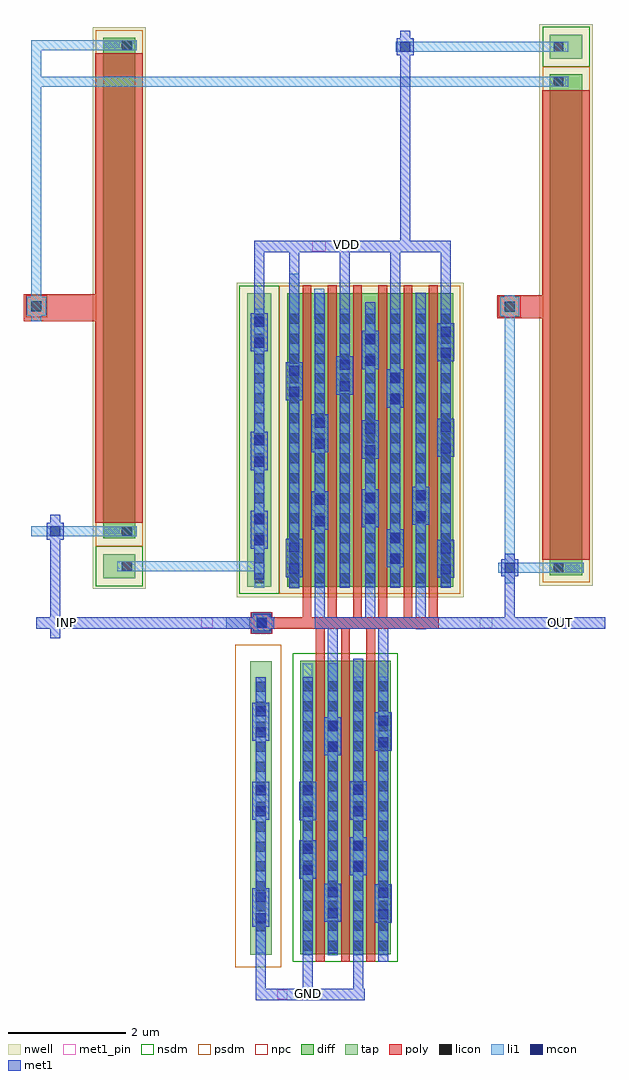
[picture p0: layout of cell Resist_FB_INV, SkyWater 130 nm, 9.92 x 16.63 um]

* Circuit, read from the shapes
.subckt Resist_FB_INV GND INP OUT VDD
XM1 OUT INP GND GND sky130_fd_pr__nfet_01v8 w=5 l=0.15 m=3
XM2 n1 n1 INP VDD sky130_fd_pr__pfet_01v8 w=0.55 l=8
XM3 OUT INP VDD VDD sky130_fd_pr__pfet_01v8 w=5 l=0.15 m=6
XM4 n1 OUT OUT VDD sky130_fd_pr__pfet_01v8 w=0.55 l=8
.ends

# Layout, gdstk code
from math import pi, radians
import gdstk
lib = gdstk.Library(unit=1e-6, precision=1e-09)
def R(c, l, rs):  # rectangles x0, y0, x1, y1
    for r in rs: c.add(gdstk.rectangle(r[:2], r[2:], *l))
def A(c, l, x, y, w, h, nx, ny, dx, dy):  # array of equal rectangles
    R(c, l, [(x+i*dx, y+j*dy, x+i*dx+w, y+j*dy+h) for i in range(nx) for j in range(ny)])
nwell = (64, 20)
diff = (65, 20)
tap = (65, 44)
poly = (66, 20)
licon = (66, 44)
li1 = (67, 20)
mcon = (67, 44)
met1_pin = (68, 16)
met1 = (68, 20)
nsdm = (93, 44)
psdm = (94, 20)
npc = (95, 20)

dfl1sd_cdns_599788481702 = lib.new_cell('DFL1sd_CDNS_599788481702')
R(dfl1sd_cdns_599788481702, diff, [(0,0,0.265,5)])
A(dfl1sd_cdns_599788481702, licon, 0.055, 0.06, 0.17, 0.17, 1, 14, 0, 0.34)
R(dfl1sd_cdns_599788481702, li1, [(0.055,-0.02,0.225,4.73)])
R(dfl1sd_cdns_599788481702, nsdm, [(-0.125,-0.125,0.39,5.125)])

dfl1sd2_cdns_59978848170 = lib.new_cell('DFL1sd2_CDNS_599788481703')
R(dfl1sd2_cdns_59978848170, diff, [(0,0,0.28,5)])
A(dfl1sd2_cdns_59978848170, licon, 0.055, 0.06, 0.17, 0.17, 1, 14, 0, 0.34)
R(dfl1sd2_cdns_59978848170, li1, [(0.055,-0.02,0.225,4.73)])
R(dfl1sd2_cdns_59978848170, nsdm, [(-0.125,-0.125,0.405,5.125)])

nfet_symbolic_cdns_59978 = lib.new_cell('nfet_symbolic_CDNS_599788481701')
A(nfet_symbolic_cdns_59978, diff, 0, 0, 0.15, 5, 3, 1, 0.43, 0)
R(nfet_symbolic_cdns_59978, diff, [(-0.25,0,0,5), (1.01,0,1.26,5)])
A(nfet_symbolic_cdns_59978, poly, 0, -0.13, 0.15, 5.26, 3, 1, 0.43, 0)
A(nfet_symbolic_cdns_59978, poly, 0, -0.13, 0.15, 0.13, 3, 2, 0.43, 5.13)
A(nfet_symbolic_cdns_59978, li1, -0.225, -0.02, 0.17, 4.75, 4, 1, 0.43, 0)
R(nfet_symbolic_cdns_59978, nsdm, [(-0.25,-0.125,0.15,5.125), (0.18,-0.125,0.58,5.125), (0.61,-0.125,1.26,5.125)])
nfet_symbolic_cdns_59978.add(gdstk.Reference(dfl1sd_cdns_599788481702, (1.01,0)))
nfet_symbolic_cdns_59978.add(gdstk.Reference(dfl1sd_cdns_599788481702, (0,0), rotation=pi, x_reflection=True))
nfet_symbolic_cdns_59978.add(gdstk.Reference(dfl1sd2_cdns_59978848170, (0.58,0)))
nfet_symbolic_cdns_59978.add(gdstk.Reference(dfl1sd2_cdns_59978848170, (0.15,0)))
nfet_symbolic_cdns_59978.add(gdstk.Label('D', (1.15,2.355), layer=83, texttype=44))
nfet_symbolic_cdns_59978.add(gdstk.Label('S', (0.72,2.355), layer=83, texttype=44))
nfet_symbolic_cdns_59978.add(gdstk.Label('D', (0.29,2.355), layer=83, texttype=44))
nfet_symbolic_cdns_59978.add(gdstk.Label('S', (-0.14,2.355), layer=83, texttype=44))

nfet_cdns_599788481700 = lib.new_cell('nfet_CDNS_599788481700')
nfet_cdns_599788481700.add(gdstk.Reference(nfet_symbolic_cdns_59978, (0,0)))

dfl1sd_cdns_599788481706 = lib.new_cell('DFL1sd_CDNS_599788481706')
R(dfl1sd_cdns_599788481706, nwell, [(-0.18,-0.18,0.445,5.18)])
R(dfl1sd_cdns_599788481706, diff, [(0,0,0.265,5)])
A(dfl1sd_cdns_599788481706, licon, 0.055, 0.06, 0.17, 0.17, 1, 14, 0, 0.34)
R(dfl1sd_cdns_599788481706, li1, [(0.055,-0.02,0.225,4.73)])
R(dfl1sd_cdns_599788481706, psdm, [(-0.125,-0.125,0.39,5.125)])

c_dfl1sd2_cdns_59978848170 = lib.new_cell('DFL1sd2_CDNS_599788481707')
R(c_dfl1sd2_cdns_59978848170, nwell, [(-0.18,-0.18,0.46,5.18)])
R(c_dfl1sd2_cdns_59978848170, diff, [(0,0,0.28,5)])
A(c_dfl1sd2_cdns_59978848170, licon, 0.055, 0.06, 0.17, 0.17, 1, 14, 0, 0.34)
R(c_dfl1sd2_cdns_59978848170, li1, [(0.055,-0.02,0.225,4.73)])
R(c_dfl1sd2_cdns_59978848170, psdm, [(-0.125,-0.125,0.405,5.125)])

pfet_symbolic_cdns_59978 = lib.new_cell('pfet_symbolic_CDNS_599788481705')
R(pfet_symbolic_cdns_59978, nwell, [(-0.445,-0.18,2.745,5.18)])
A(pfet_symbolic_cdns_59978, diff, 0, 0, 0.15, 5, 6, 1, 0.43, 0)
R(pfet_symbolic_cdns_59978, diff, [(-0.25,0,0,5), (2.3,0,2.55,5)])
A(pfet_symbolic_cdns_59978, poly, 0, -0.13, 0.15, 5.26, 6, 1, 0.43, 0)
A(pfet_symbolic_cdns_59978, poly, 0, -0.13, 0.15, 0.13, 6, 2, 0.43, 5.13)
A(pfet_symbolic_cdns_59978, li1, -0.225, -0.02, 0.17, 4.75, 7, 1, 0.43, 0)
A(pfet_symbolic_cdns_59978, psdm, -0.25, -0.125, 0.4, 5.25, 5, 1, 0.43, 0)
R(pfet_symbolic_cdns_59978, psdm, [(1.9,-0.125,2.55,5.125)])
pfet_symbolic_cdns_59978.add(gdstk.Reference(dfl1sd_cdns_599788481706, (2.3,0)))
pfet_symbolic_cdns_59978.add(gdstk.Reference(dfl1sd_cdns_599788481706, (0,0), rotation=pi, x_reflection=True))
pfet_symbolic_cdns_59978.add(gdstk.Reference(c_dfl1sd2_cdns_59978848170, (1.87,0)))
pfet_symbolic_cdns_59978.add(gdstk.Reference(c_dfl1sd2_cdns_59978848170, (1.44,0)))
pfet_symbolic_cdns_59978.add(gdstk.Reference(c_dfl1sd2_cdns_59978848170, (1.01,0)))
pfet_symbolic_cdns_59978.add(gdstk.Reference(c_dfl1sd2_cdns_59978848170, (0.58,0)))
pfet_symbolic_cdns_59978.add(gdstk.Reference(c_dfl1sd2_cdns_59978848170, (0.15,0)))
pfet_symbolic_cdns_59978.add(gdstk.Label('S', (2.44,2.355), layer=83, texttype=44))
pfet_symbolic_cdns_59978.add(gdstk.Label('D', (2.01,2.355), layer=83, texttype=44))
pfet_symbolic_cdns_59978.add(gdstk.Label('S', (1.58,2.355), layer=83, texttype=44))
pfet_symbolic_cdns_59978.add(gdstk.Label('D', (1.15,2.355), layer=83, texttype=44))
pfet_symbolic_cdns_59978.add(gdstk.Label('S', (0.72,2.355), layer=83, texttype=44))
pfet_symbolic_cdns_59978.add(gdstk.Label('D', (0.29,2.355), layer=83, texttype=44))
pfet_symbolic_cdns_59978.add(gdstk.Label('S', (-0.14,2.355), layer=83, texttype=44))

pfet_cdns_599788481704 = lib.new_cell('pfet_CDNS_599788481704')
R(pfet_cdns_599788481704, nwell, [(-1.125,-0.18,-0.445,5.18)])
R(pfet_cdns_599788481704, tap, [(-0.945,0,-0.535,5)])
A(pfet_cdns_599788481704, licon, -0.825, 0.06, 0.17, 0.17, 1, 14, 0, 0.34)
R(pfet_cdns_599788481704, li1, [(-0.825,-0.02,-0.655,4.73)])
R(pfet_cdns_599788481704, nsdm, [(-1.08,-0.125,-0.4,5.125)])
R(pfet_cdns_599788481704, psdm, [(-0.4,-0.125,-0.39,5.125)])
pfet_cdns_599788481704.add(gdstk.Reference(pfet_symbolic_cdns_59978, (0,0)))

pyl1_c_cdns_599788481701 = lib.new_cell('PYL1_C_CDNS_599788481701')
R(pyl1_c_cdns_599788481701, poly, [(-0.165,-0.165,0.165,0.165)])
R(pyl1_c_cdns_599788481701, licon, [(-0.085,-0.085,0.085,0.085)])
R(pyl1_c_cdns_599788481701, li1, [(-0.165,-0.165,0.165,0.165)])
R(pyl1_c_cdns_599788481701, npc, [(-0.185,-0.185,0.185,0.185)])

l1m1_c_cdns_599788481700 = lib.new_cell('L1M1_C_CDNS_599788481700')
R(l1m1_c_cdns_599788481700, li1, [(-0.085,-0.085,0.085,0.085)])
R(l1m1_c_cdns_599788481700, mcon, [(-0.085,-0.085,0.085,0.085)])
R(l1m1_c_cdns_599788481700, met1, [(-0.145,-0.145,0.145,0.145)])

l1m1_c_cdns_599788481702 = lib.new_cell('L1M1_C_CDNS_599788481702')
R(l1m1_c_cdns_599788481702, li1, [(-0.085,-0.265,0.085,0.265)])
R(l1m1_c_cdns_599788481702, mcon, [(-0.085,-0.265,0.085,-0.095), (-0.085,0.095,0.085,0.265)])
R(l1m1_c_cdns_599788481702, met1, [(-0.145,-0.325,0.145,0.325)])

inverter1 = lib.new_cell('Inverter1')
R(inverter1, tap, [(2.355,1.175,2.72,6.175)])
A(inverter1, poly, 3.475, 6.315, 0.15, 0.61, 3, 1, 0.43, 0)
A(inverter1, poly, 3.68, 6.925, 0.15, 0.395, 5, 1, 0.43, 0)
R(inverter1, poly, [(2.34,6.73,5.57,6.925), (3.25,6.73,3.4,7.32), (3.68,6.73,3.83,7.32)])
A(inverter1, licon, 2.455, 1.575, 0.17, 0.17, 1, 13, 0, 0.34)
R(inverter1, li1, [(2.455,1.2,2.625,5.905), (3.255,5.38,3.425,6.145), (3.675,5.38,3.845,6.145), (3.68,5.915,3.85,6.145), (1.95,6.73,2.77,6.925), (3.025,12.015,3.195,12.78), (3.45,12.015,3.62,12.525)])
R(inverter1, met1_pin, [(2.82,0.42,2.985,0.58), (6.27,6.735,6.485,6.92), (1.525,6.745,1.72,6.92), (3.415,13.16,3.64,13.335)])
A(inverter1, met1, 3.885, 7.43, 0.17, 5.91, 3, 1, 0.86, 0)
R(inverter1, met1, [(2.455,0.405,2.625,5.905), (2.455,0.405,4.31,0.6), (3.25,0.405,3.425,5.905), (4.11,0.405,4.28,6.22), (4.54,1.055,4.71,6.925), (3.68,1.205,3.85,6.925), (5.175,6.725,5.345,12.46), (1.52,6.73,2.77,6.925), (3.455,6.73,3.625,12.45), (3.455,6.73,6.525,6.925), (4.315,6.73,4.485,12.29), (3.025,7.425,3.195,13.34), (2.425,7.57,2.595,13.34), (2.425,13.145,5.775,13.34)])
R(inverter1, psdm, [(2.1,0.96,2.89,6.455)])
inverter1.add(gdstk.Reference(nfet_cdns_599788481700, (3.475,1.185)))
inverter1.add(gdstk.Reference(pfet_cdns_599788481704, (3.25,7.45)))
inverter1.add(gdstk.Reference(pyl1_c_cdns_599788481701, (2.55,6.83)))
inverter1.add(gdstk.Reference(l1m1_c_cdns_599788481700, (2.55,6.83)))
inverter1.add(gdstk.Reference(l1m1_c_cdns_599788481702, (5.69,11.615)))
inverter1.add(gdstk.Reference(l1m1_c_cdns_599788481702, (5.69,7.925)))
inverter1.add(gdstk.Reference(l1m1_c_cdns_599788481702, (5.69,9.985)))
inverter1.add(gdstk.Reference(l1m1_c_cdns_599788481702, (5.26,8.825)))
inverter1.add(gdstk.Reference(l1m1_c_cdns_599788481702, (4.83,8.105)))
inverter1.add(gdstk.Reference(l1m1_c_cdns_599788481702, (4.83,10.825)))
inverter1.add(gdstk.Reference(l1m1_c_cdns_599788481702, (4.4,11.48)))
inverter1.add(gdstk.Reference(l1m1_c_cdns_599788481702, (4.4,8.785)))
inverter1.add(gdstk.Reference(l1m1_c_cdns_599788481702, (4.4,9.955)))
inverter1.add(gdstk.Reference(l1m1_c_cdns_599788481702, (4.625,2.05)))
inverter1.add(gdstk.Reference(l1m1_c_cdns_599788481702, (4.625,4.98)))
inverter1.add(gdstk.Reference(l1m1_c_cdns_599788481702, (4.195,3.805)))
inverter1.add(gdstk.Reference(l1m1_c_cdns_599788481702, (4.195,2.855)))
inverter1.add(gdstk.Reference(l1m1_c_cdns_599788481702, (3.76,4.9)))
inverter1.add(gdstk.Reference(l1m1_c_cdns_599788481702, (3.335,2.8)))
inverter1.add(gdstk.Reference(l1m1_c_cdns_599788481702, (3.335,3.795)))
inverter1.add(gdstk.Reference(l1m1_c_cdns_599788481702, (3.765,2.06)))
inverter1.add(gdstk.Reference(l1m1_c_cdns_599788481702, (3.54,8.745)))
inverter1.add(gdstk.Reference(l1m1_c_cdns_599788481702, (2.51,11.785)))
inverter1.add(gdstk.Reference(l1m1_c_cdns_599788481702, (2.51,9.76)))
inverter1.add(gdstk.Reference(l1m1_c_cdns_599788481702, (2.51,8.415)))
inverter1.add(gdstk.Reference(l1m1_c_cdns_599788481702, (3.97,11.045)))
inverter1.add(gdstk.Reference(l1m1_c_cdns_599788481702, (3.54,10.06)))
inverter1.add(gdstk.Reference(l1m1_c_cdns_599788481702, (3.11,7.935)))
inverter1.add(gdstk.Reference(l1m1_c_cdns_599788481702, (3.11,10.95)))
inverter1.add(gdstk.Reference(l1m1_c_cdns_599788481702, (2.54,1.98)))
inverter1.add(gdstk.Reference(l1m1_c_cdns_599788481702, (2.54,3.8)))
inverter1.add(gdstk.Reference(l1m1_c_cdns_599788481702, (2.54,5.145)))
inverter1.add(gdstk.Label('OUT', (6.395,6.82), layer=68, texttype=20))
inverter1.add(gdstk.Label('VDD', (3.53,13.255), layer=68, texttype=20))
inverter1.add(gdstk.Label('INP', (1.545,6.815), layer=68, texttype=20))
inverter1.add(gdstk.Label('GND', (2.895,0.485), layer=68, texttype=20))

dfl1sd_cdns_599788481701 = lib.new_cell('DFL1sd_CDNS_5997884817010')
R(dfl1sd_cdns_599788481701, nwell, [(-0.18,-0.18,0.445,0.73)])
R(dfl1sd_cdns_599788481701, diff, [(0,0,0.265,0.55)])
R(dfl1sd_cdns_599788481701, licon, [(0.055,0.06,0.225,0.23)])
R(dfl1sd_cdns_599788481701, li1, [(0.055,-0.02,0.225,0.31)])
R(dfl1sd_cdns_599788481701, psdm, [(-0.125,-0.125,0.39,0.675)])

c_pfet_symbolic_cdns_59978 = lib.new_cell('pfet_symbolic_CDNS_599788481709')
R(c_pfet_symbolic_cdns_59978, nwell, [(-0.445,-0.18,8.445,0.73)])
R(c_pfet_symbolic_cdns_59978, diff, [(-0.25,0,0,0.55), (0,0,8,0.55), (8,0,8.25,0.55)])
R(c_pfet_symbolic_cdns_59978, poly, [(0,-0.13,8,0.68), (0,-0.13,8,0), (0,0.55,8,0.68)])
R(c_pfet_symbolic_cdns_59978, li1, [(-0.225,-0.02,-0.055,0.31), (8.055,-0.02,8.225,0.31)])
R(c_pfet_symbolic_cdns_59978, psdm, [(-0.25,-0.125,8.25,0.675)])
c_pfet_symbolic_cdns_59978.add(gdstk.Reference(dfl1sd_cdns_599788481701, (8,0)))
c_pfet_symbolic_cdns_59978.add(gdstk.Reference(dfl1sd_cdns_599788481701, (0,0), rotation=pi, x_reflection=True))
c_pfet_symbolic_cdns_59978.add(gdstk.Label('D', (8.14,0.145), layer=83, texttype=44))
c_pfet_symbolic_cdns_59978.add(gdstk.Label('S', (-0.14,0.145), layer=83, texttype=44))

pfet_cdns_599788481708 = lib.new_cell('pfet_CDNS_599788481708')
R(pfet_cdns_599788481708, nwell, [(-1.125,-0.18,-0.445,0.73)])
R(pfet_cdns_599788481708, tap, [(-0.945,0,-0.535,0.55)])
R(pfet_cdns_599788481708, licon, [(-0.825,0.06,-0.655,0.23)])
R(pfet_cdns_599788481708, li1, [(-0.825,-0.02,-0.655,0.31)])
R(pfet_cdns_599788481708, nsdm, [(-1.08,-0.125,-0.4,0.675)])
R(pfet_cdns_599788481708, psdm, [(-0.4,-0.125,-0.39,0.675)])
pfet_cdns_599788481708.add(gdstk.Reference(c_pfet_symbolic_cdns_59978, (0,0)))

resist_fb_inv = lib.new_cell('Resist_FB_INV')
R(resist_fb_inv, poly, [(0.08,12.185,1.33,12.645), (8.155,12.24,8.93,12.625)])
R(resist_fb_inv, li1, [(8.28,7.72,8.45,12.625), (8.165,7.9,9.625,8.07), (2.005,7.925,4.18,8.095), (0.215,8.525,1.675,8.695), (0.215,12.185,0.385,16.975), (0.385,16.18,9.03,16.35), (6.42,16.78,9.03,16.95), (0.215,16.805,1.675,16.975)])
R(resist_fb_inv, met1_pin, [(4.835,0.62,5.01,0.815), (0.725,6.945,0.91,7.135), (9.135,6.975,9.325,7.115), (5.495,13.36,5.67,13.555)])
R(resist_fb_inv, met1, [(0.535,6.785,0.705,8.885), (0.295,6.945,3.535,7.14), (7.435,6.945,8.705,7.14), (7.93,6.945,9.995,7.14), (8.28,6.945,8.45,8.225), (6.5,13.555,6.67,17.135)])
resist_fb_inv.add(gdstk.Reference(inverter1, (1.585,0.215)))
resist_fb_inv.add(gdstk.Reference(pfet_cdns_599788481708, (9.05,16.125), rotation=3*pi/2))
resist_fb_inv.add(gdstk.Reference(pfet_cdns_599788481708, (1.985,8.75), rotation=pi/2))
resist_fb_inv.add(gdstk.Reference(l1m1_c_cdns_599788481700, (6.585,16.865)))
resist_fb_inv.add(gdstk.Reference(l1m1_c_cdns_599788481700, (8.365,7.985)))
resist_fb_inv.add(gdstk.Reference(l1m1_c_cdns_599788481700, (0.62,8.61)))
resist_fb_inv.add(gdstk.Reference(pyl1_c_cdns_599788481701, (0.3,12.44)))
resist_fb_inv.add(gdstk.Reference(pyl1_c_cdns_599788481701, (8.365,12.435)))
resist_fb_inv.add(gdstk.Label('OUT', (9.225,7.05), layer=68, texttype=16))
resist_fb_inv.add(gdstk.Label('INP', (0.815,7.055), layer=68, texttype=16))
resist_fb_inv.add(gdstk.Label('GND', (4.93,0.735), layer=68, texttype=16))
resist_fb_inv.add(gdstk.Label('VDD', (5.585,13.485), layer=68, texttype=16))

lib.write_gds('Resist_FB_INV.gds')
